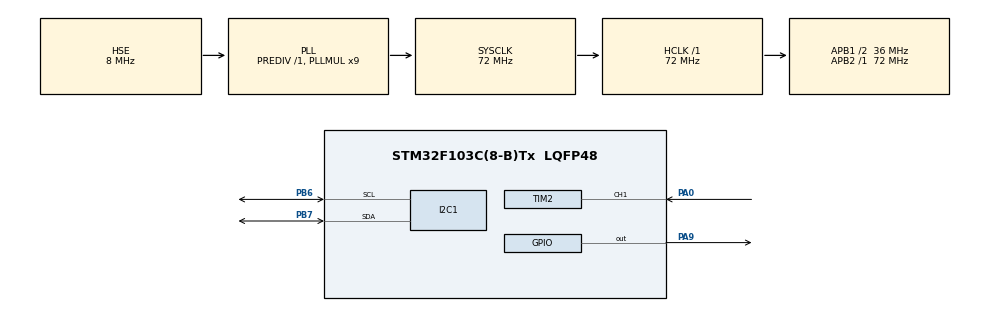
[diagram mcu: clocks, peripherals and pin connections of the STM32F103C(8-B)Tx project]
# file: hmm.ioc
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Mcu.Family=STM32F1
Mcu.Name=STM32F103C(8-B)Tx
Mcu.Package=LQFP48
NVIC.PriorityGroup=NVIC_PRIORITYGROUP_4
NVIC.TIM2_IRQn=true\:0\:0\:false\:false\:true\:true\:true\:true
NVIC.TIM3_IRQn=true\:1\:0\:true\:false\:true\:true\:true\:true
PA0-WKUP.Signal=S_TIM2_CH1_ETR
PA13.Mode=Serial_Wire
PA13.Signal=SYS_JTMS-SWDIO
PA14.Mode=Serial_Wire
PA14.Signal=SYS_JTCK-SWCLK
PA9.Signal=GPIO_Output
PB6.Mode=I2C
PB6.Signal=I2C1_SCL
PB7.Mode=I2C
PB7.Signal=I2C1_SDA
PD0-OSC_IN.Mode=HSE-External-Oscillator
PD0-OSC_IN.Signal=RCC_OSC_IN
PD1-OSC_OUT.Mode=HSE-External-Oscillator
PD1-OSC_OUT.Signal=RCC_OSC_OUT
ProjectManager.HeapSize=0x200
ProjectManager.StackSize=0x400
ProjectManager.TargetToolchain=STM32CubeIDE
RCC.AHBFreq_Value=72000000
RCC.APB1CLKDivider=RCC_HCLK_DIV2
RCC.APB1Freq_Value=36000000
RCC.APB1TimFreq_Value=72000000
RCC.APB2Freq_Value=72000000
RCC.APB2TimFreq_Value=72000000
RCC.HCLKFreq_Value=72000000
RCC.PLLMUL=RCC_PLL_MUL9
RCC.PLLSourceVirtual=RCC_PLLSOURCE_HSE
RCC.SYSCLKFreq_VALUE=72000000
RCC.SYSCLKSource=RCC_SYSCLKSOURCE_PLLCLK
RCC.USBFreq_Value=72000000
SH.S_TIM2_CH1_ETR.0=TIM2_CH1,Input_Capture1_from_TI1
TIM2.Channel-Input_Capture1_from_TI1=TIM_CHANNEL_1
TIM2.Prescaler=71
TIM3.Period=9999
TIM3.Prescaler=7
VP_TIM3_VS_ClockSourceINT.Mode=Internal
board=custom

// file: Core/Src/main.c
/* USER CODE BEGIN Header */
/**
  ******************************************************************************
  * @file           : main.c
  * @brief          : Main program body
  ******************************************************************************
  * @attention
  *
  * Copyright (c) 2024 STMicroelectronics.
  * All rights reserved.
  *
  * This software is licensed under terms that can be found in the LICENSE file
  * in the root directory of this software component.
  * If no LICENSE file comes with this software, it is provided AS-IS.
  *
  ******************************************************************************
  */
/* USER CODE END Header */
#include "main.h"

I2C_HandleTypeDef hi2c1;

TIM_HandleTypeDef htim2;
TIM_HandleTypeDef htim3;

void SystemClock_Config(void);
static void MX_GPIO_Init(void);
static void MX_TIM2_Init(void);
static void MX_I2C1_Init(void);
static void MX_TIM3_Init(void);
/* USER CODE BEGIN PFP */
#define LCD_ADDR 0x4E
/* USER CODE END PFP */

/* USER CODE BEGIN 0 */
char distance[] ="Distance:";
volatile double flag = 0;
volatile double val1 = 0, val2 = 0, kc = 0,a=0,b=0;
volatile int32_t diff = 0;
void LCD_Command(char cmd)
{
	char data_l, data_u;
	uint8_t data_t[4];
	data_u = (cmd&0xf0);
	data_l = ((cmd<<4)&0xf0);
	data_t[0] = data_u|0x0C;  //en=1, rs=0
	data_t[1] = data_u|0x08;  //en=0, rs=0
	data_t[2] = data_l|0x0C;  //en=1, rs=0
	data_t[3] = data_l|0x08;  //en=0, rs=0
	HAL_I2C_Master_Transmit (&hi2c1, LCD_ADDR,(uint8_t *) data_t, 4, 100);
}
void LCD_Data(char data)
{
	char data_l, data_u;
	uint8_t data_t[4];
	data_u = (data&0xf0);
	data_l = ((data<<4)&0xf0);
	data_t[0] = data_u|0x0D;  //en=1, rs=0
	data_t[1] = data_u|0x09;  //en=0, rs=0
	data_t[2] = data_l|0x0D;  //en=1, rs=0
	data_t[3] = data_l|0x09;  //en=0, rs=0
	HAL_I2C_Master_Transmit (&hi2c1, LCD_ADDR,(uint8_t *) data_t, 4, 100);
}
void LCD_Init(void)
{
	// 4 bit initialisation
	HAL_Delay(50);  // wait for >40ms
	LCD_Command(0x30);
	HAL_Delay(5);  // wait for >4.1ms
	LCD_Command (0x30);
	HAL_Delay(1);  // wait for >100us
	LCD_Command (0x30);
	HAL_Delay(10);
	LCD_Command (0x20);  // 4bit mode
	HAL_Delay(10);

  // dislay initialisation
	LCD_Command (0x28); // Function set --> DL=0 (4 bit mode), N = 1 (2 line display) F = 0 (5x8 characters)
	HAL_Delay(1);
	LCD_Command (0x08); //Display on/off control --> D=0,C=0, B=0  ---> display off
	HAL_Delay(1);
	LCD_Command (0x01);  // clear display
	HAL_Delay(1);
	HAL_Delay(1);
	LCD_Command (0x06); //Entry mode set --> I/D = 1 (increment cursor) & S = 0 (no shift)
	HAL_Delay(1);
	LCD_Command (0x0C); //Display on/off control --> D = 1, C and B = 0. (Cursor and blink, last two bits)

}
void LCD_GotoXY(uint8_t row, uint8_t col, char data)
{
	unsigned char cmd;
	cmd = (row==1?0x80:0xC0) + col - 1;
	LCD_Command(cmd);
	LCD_Data(data);

}
void LCD_String(char *s)
{
	while(*s)
	{
		LCD_Data(*s);
		s++;
	}
}
void LCD_GotoXY_String(uint8_t row, uint8_t col, char* data)
{
	unsigned char cmd;
	cmd = (row==1?0x80:0xC0) + col - 1;
	LCD_Command(cmd);
	LCD_String(data);

}

void HAL_TIM_IC_CaptureCallback(TIM_HandleTypeDef *htim)
{
	if(htim->Channel == HAL_TIM_ACTIVE_CHANNEL_1)
	{
		int temp;
		if(flag == 0)
		{
			val1 = HAL_TIM_ReadCapturedValue(htim,TIM_CHANNEL_1);
			flag = 1;
			__HAL_TIM_SET_CAPTUREPOLARITY(htim,TIM_CHANNEL_1,TIM_INPUTCHANNELPOLARITY_FALLING);
			a++;
		}
		else if(flag == 1)
		{
			b++;
			__HAL_TIM_SET_COUNTER(htim, 0);
			val2 = HAL_TIM_ReadCapturedValue(htim,TIM_CHANNEL_1);

			if(val2 >= val1)
			{
				diff = val2 - val1;
			}
			else if(val2< val1)
			{
				diff = 65535 - val1 + val2;
			}
			kc = diff*0.034/2;
			temp = kc*10;
			LCD_GotoXY(1,10,(temp/100)+48);
			LCD_GotoXY(1,11,((temp%100)/10)+48);
			LCD_GotoXY(1,12,0x2E);
			LCD_GotoXY(1,13,((temp%100)%10)+48);
			if(kc > 10)
			{
				LCD_GotoXY_String(2,7,"SAFE");
			}
			else
			{
				LCD_GotoXY_String(2,7,"STOP");
			}
			flag = 0;
			__HAL_TIM_SET_CAPTUREPOLARITY(htim,TIM_CHANNEL_1,TIM_INPUTCHANNELPOLARITY_RISING);
		}
	}

}
/* USER CODE END 0 */

int main(void)
{

  /* MCU Configuration--------------------------------------------------------*/

  /* Reset of all peripherals, Initializes the Flash interface and the Systick. */
  HAL_Init();

  /* Configure the system clock */
  SystemClock_Config();

  /* Initialize all configured peripherals */
  MX_GPIO_Init();
  MX_TIM2_Init();
  MX_I2C1_Init();
  MX_TIM3_Init();
  /* USER CODE BEGIN 2 */
  HAL_TIM_IC_Start_IT(&htim2,TIM_CHANNEL_1);
  LCD_Init();
  LCD_String(distance);
  LCD_GotoXY(1,15,'c');
  LCD_GotoXY(1,16,'m');
  /* USER CODE END 2 */

  /* Infinite loop */
  while (1)
  {

    /* USER CODE BEGIN 3 */
	  HAL_GPIO_WritePin(GPIOA,GPIO_PIN_9,GPIO_PIN_SET);
	  HAL_Delay(10);
	  HAL_GPIO_WritePin(GPIOA,GPIO_PIN_9,GPIO_PIN_RESET);
	  HAL_Delay(200);
  }
  /* USER CODE END 3 */
}

void SystemClock_Config(void)
{
  RCC_OscInitTypeDef RCC_OscInitStruct = {0};
  RCC_ClkInitTypeDef RCC_ClkInitStruct = {0};

  /** Initializes the RCC Oscillators according to the specified parameters
  * in the RCC_OscInitTypeDef structure.
  */
  RCC_OscInitStruct.OscillatorType = RCC_OSCILLATORTYPE_HSE;
  RCC_OscInitStruct.HSEState = RCC_HSE_ON;
  RCC_OscInitStruct.HSEPredivValue = RCC_HSE_PREDIV_DIV1;
  RCC_OscInitStruct.HSIState = RCC_HSI_ON;
  RCC_OscInitStruct.PLL.PLLState = RCC_PLL_ON;
  RCC_OscInitStruct.PLL.PLLSource = RCC_PLLSOURCE_HSE;
  RCC_OscInitStruct.PLL.PLLMUL = RCC_PLL_MUL9;
  if (HAL_RCC_OscConfig(&RCC_OscInitStruct) != HAL_OK)
  {
    Error_Handler();
  }

  /** Initializes the CPU, AHB and APB buses clocks
  */
  RCC_ClkInitStruct.ClockType = RCC_CLOCKTYPE_HCLK|RCC_CLOCKTYPE_SYSCLK
                              |RCC_CLOCKTYPE_PCLK1|RCC_CLOCKTYPE_PCLK2;
  RCC_ClkInitStruct.SYSCLKSource = RCC_SYSCLKSOURCE_PLLCLK;
  RCC_ClkInitStruct.AHBCLKDivider = RCC_SYSCLK_DIV1;
  RCC_ClkInitStruct.APB1CLKDivider = RCC_HCLK_DIV2;
  RCC_ClkInitStruct.APB2CLKDivider = RCC_HCLK_DIV1;

  if (HAL_RCC_ClockConfig(&RCC_ClkInitStruct, FLASH_LATENCY_2) != HAL_OK)
  {
    Error_Handler();
  }
}

static void MX_I2C1_Init(void)
{

  hi2c1.Instance = I2C1;
  hi2c1.Init.ClockSpeed = 100000;
  hi2c1.Init.DutyCycle = I2C_DUTYCYCLE_2;
  hi2c1.Init.OwnAddress1 = 0;
  hi2c1.Init.AddressingMode = I2C_ADDRESSINGMODE_7BIT;
  hi2c1.Init.DualAddressMode = I2C_DUALADDRESS_DISABLE;
  hi2c1.Init.OwnAddress2 = 0;
  hi2c1.Init.GeneralCallMode = I2C_GENERALCALL_DISABLE;
  hi2c1.Init.NoStretchMode = I2C_NOSTRETCH_DISABLE;
  if (HAL_I2C_Init(&hi2c1) != HAL_OK)
  {
    Error_Handler();
  }

}

static void MX_TIM2_Init(void)
{

  TIM_MasterConfigTypeDef sMasterConfig = {0};
  TIM_IC_InitTypeDef sConfigIC = {0};

  htim2.Instance = TIM2;
  htim2.Init.Prescaler = 71;
  htim2.Init.CounterMode = TIM_COUNTERMODE_UP;
  htim2.Init.Period = 65535;
  htim2.Init.ClockDivision = TIM_CLOCKDIVISION_DIV1;
  htim2.Init.AutoReloadPreload = TIM_AUTORELOAD_PRELOAD_DISABLE;
  if (HAL_TIM_IC_Init(&htim2) != HAL_OK)
  {
    Error_Handler();
  }
  sMasterConfig.MasterOutputTrigger = TIM_TRGO_RESET;
  sMasterConfig.MasterSlaveMode = TIM_MASTERSLAVEMODE_DISABLE;
  if (HAL_TIMEx_MasterConfigSynchronization(&htim2, &sMasterConfig) != HAL_OK)
  {
    Error_Handler();
  }
  sConfigIC.ICPolarity = TIM_INPUTCHANNELPOLARITY_RISING;
  sConfigIC.ICSelection = TIM_ICSELECTION_DIRECTTI;
  sConfigIC.ICPrescaler = TIM_ICPSC_DIV1;
  sConfigIC.ICFilter = 0;
  if (HAL_TIM_IC_ConfigChannel(&htim2, &sConfigIC, TIM_CHANNEL_1) != HAL_OK)
  {
    Error_Handler();
  }

}

static void MX_TIM3_Init(void)
{

  TIM_ClockConfigTypeDef sClockSourceConfig = {0};
  TIM_MasterConfigTypeDef sMasterConfig = {0};

  htim3.Instance = TIM3;
  htim3.Init.Prescaler = 7;
  htim3.Init.CounterMode = TIM_COUNTERMODE_UP;
  htim3.Init.Period = 9999;
  htim3.Init.ClockDivision = TIM_CLOCKDIVISION_DIV1;
  htim3.Init.AutoReloadPreload = TIM_AUTORELOAD_PRELOAD_DISABLE;
  if (HAL_TIM_Base_Init(&htim3) != HAL_OK)
  {
    Error_Handler();
  }
  sClockSourceConfig.ClockSource = TIM_CLOCKSOURCE_INTERNAL;
  if (HAL_TIM_ConfigClockSource(&htim3, &sClockSourceConfig) != HAL_OK)
  {
    Error_Handler();
  }
  sMasterConfig.MasterOutputTrigger = TIM_TRGO_RESET;
  sMasterConfig.MasterSlaveMode = TIM_MASTERSLAVEMODE_DISABLE;
  if (HAL_TIMEx_MasterConfigSynchronization(&htim3, &sMasterConfig) != HAL_OK)
  {
    Error_Handler();
  }

}

static void MX_GPIO_Init(void)
{
  GPIO_InitTypeDef GPIO_InitStruct = {0};

  /* GPIO Ports Clock Enable */
  __HAL_RCC_GPIOD_CLK_ENABLE();
  __HAL_RCC_GPIOA_CLK_ENABLE();
  __HAL_RCC_GPIOB_CLK_ENABLE();

  /*Configure GPIO pin Output Level */
  HAL_GPIO_WritePin(GPIOA, GPIO_PIN_9, GPIO_PIN_RESET);

  /*Configure GPIO pin : PA9 */
  GPIO_InitStruct.Pin = GPIO_PIN_9;
  GPIO_InitStruct.Mode = GPIO_MODE_OUTPUT_PP;
  GPIO_InitStruct.Pull = GPIO_NOPULL;
  GPIO_InitStruct.Speed = GPIO_SPEED_FREQ_LOW;
  HAL_GPIO_Init(GPIOA, &GPIO_InitStruct);

}

void Error_Handler(void)
{
  __disable_irq();
  while (1)
  {
  }
}
